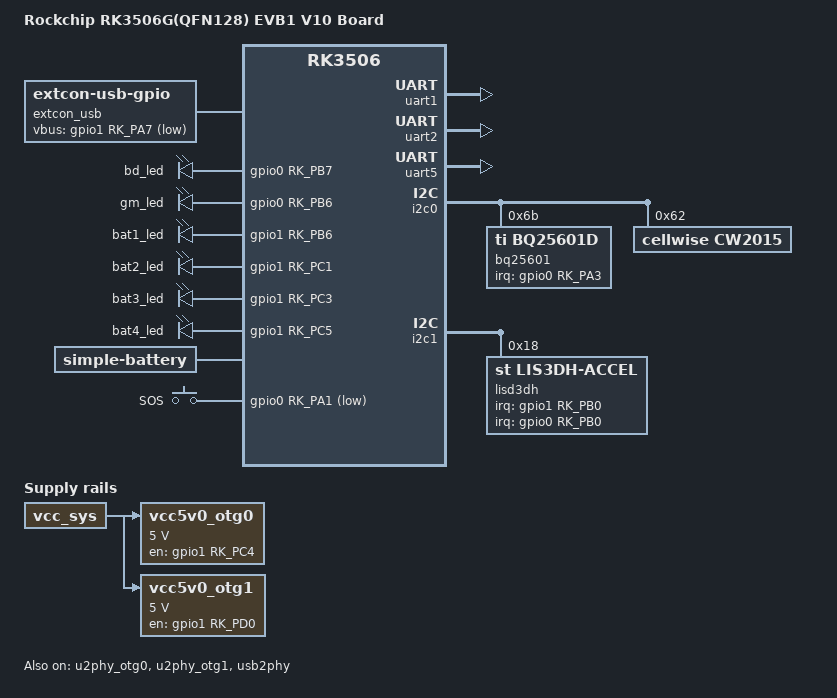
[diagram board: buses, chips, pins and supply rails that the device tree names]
// SPDX-License-Identifier: (GPL-2.0+ OR MIT)
/*
 * Copyright (c) 2024 Rockchip Electronics Co., Ltd.
 */

/dts-v1/;

#include "rk3506.dtsi"
#include "rk3506-evb1-v10.dtsi"
#include <dt-bindings/sensor-dev.h>

/ {
	model = "Rockchip RK3506G(QFN128) EVB1 V10 Board";
	compatible = "rockchip,rk3506g-evb1-v10", "rockchip,rk3506";

	chosen {
		bootargs = "earlycon=uart8250,mmio32,0xff0a0000 console=ttyFIQ0 ubi.mtd=2 root=ubi0:rootfs rw rootfstype=ubifs rootwait snd_aloop.index=7 snd_aloop.use_raw_jiffies=1";
	};

	extcon_usb: extcon-usb {
		compatible = "linux,extcon-usb-gpio";
		vbus-gpio = <&gpio1 RK_PA7 GPIO_ACTIVE_LOW>;
		pinctrl-names = "default";
		pinctrl-0 = <&usb_extcon_vbus>;
		status = "okay";
	};

	sai_dais: sai-dais {
		status = "disabled";
		compatible = "rockchip,multi-dais";
		dais = <&sai1>, <&sai4>;
		capture,channel-mapping = <2 2>;
		playback,channel-mapping = <2 0>;
		mclk-fs-mapping = <256 1024>;
	};

	vcc3v3_lcd_n: vcc3v3-lcd0-n {
		status = "disabled";
		compatible = "regulator-fixed";
		enable-active-high;
		gpio = <&gpio0 RK_PA1 GPIO_ACTIVE_HIGH>;
		regulator-name = "vcc3v3_lcd_n";
		regulator-boot-on;
		regulator-state-mem {
			regulator-off-in-suspend;
		};
	};

	vcc5v0_otg0: vcc5v0-otg0-regulator {
		compatible = "regulator-fixed";
		regulator-name = "vcc5v0_otg0";
		regulator-min-microvolt = <5000000>;
		regulator-max-microvolt = <5000000>;
		enable-active-high;
		gpio = <&gpio1 RK_PC4 GPIO_ACTIVE_HIGH>;
		vin-supply = <&vcc_sys>;
		pinctrl-names = "default";
		pinctrl-0 = <&vcc5v0_otg0_en>;
	};

	vcc5v0_otg1: vcc5v0-otg1-regulator {
		compatible = "regulator-fixed";
		regulator-name = "vcc5v0_otg1";
		regulator-boot-on;
		regulator-always-on;
		regulator-min-microvolt = <5000000>;
		regulator-max-microvolt = <5000000>;
		enable-active-high;
		gpio = <&gpio1 RK_PD0 GPIO_ACTIVE_HIGH>;
		vin-supply = <&vcc_sys>;
		pinctrl-names = "default";
		pinctrl-0 = <&vcc5v0_otg1_en>;
	};

	leds: leds {
		compatible = "gpio-leds";
		status = "okay";

		bd_led: bd_led {
			label = "bd_led";
			linux,default-trigger = "none";
			default-state = "off";
			gpios = <&gpio0 RK_PB7 GPIO_ACTIVE_HIGH>;
		};

		gm_led: gm_led {
			label = "gm_led";
			linux,default-trigger = "none";
			default-state = "off";
			gpios = <&gpio0 RK_PB6 GPIO_ACTIVE_HIGH>;
		};

		bat1_led: bat1_led {
			label = "bat1_led";
			linux,default-trigger = "none";
			default-state = "on";
			gpios = <&gpio1 RK_PB6 GPIO_ACTIVE_HIGH>;
		};

		bat2_led: bat2_led {
			label = "bat2_led";
			linux,default-trigger = "none";
			default-state = "off";
			gpios = <&gpio1 RK_PC1 GPIO_ACTIVE_HIGH>;
		};

		bat3_led: bat3_led {
			label = "bat3_led";
			linux,default-trigger = "none";
			default-state = "off";
			gpios = <&gpio1 RK_PC3 GPIO_ACTIVE_HIGH>;
		};

		bat4_led: bat4_led {
			label = "bat4_led";
			linux,default-trigger = "none";
			default-state = "off";
			gpios = <&gpio1 RK_PC5 GPIO_ACTIVE_HIGH>;
		};
	};

	wireless-bluetooth {
		status = "disabled";
	};

	wireless-wlan {
		status = "disabled";
	};

	bat: battery {
		compatible = "simple-battery";
		constant-charge-current-max-microamp = <2040000>;
		constant-charge-voltage-max-microvolt = <4352000>;
		precharge-current-microamp = <180000>;
		charge-term-current-microamp = <180000>;
	};
};

&acodec_sound {
	status = "disabled";
};

&cma {
	size = <0x1600000>;
};

&dsi {
	status = "disabled";
};

&dsi_dphy {
	status = "disabled";
};

&dsi_in_vop {
	status = "disabled";
};

&dsi_panel {
	power-supply = <&vcc3v3_lcd_n>;
	status = "disabled";
};

&es8388 {
	status = "disabled";
};

&es8388_sound {
	status = "disabled";
	rockchip,cpu = <&sai_dais>;
	rockchip,codec = <&es8388>, <&audio_codec>;
	rockchip,mclk-fs-mapping = <256 1024>;
};

&gt1x {
	power-supply = <&vcc3v3_lcd_n>;
	status = "disabled";
};

&pinctrl {
	usb {
		usb_extcon_vbus: usb-extcon-vbus {
			rockchip,pins = <1 RK_PA7 RK_FUNC_GPIO &pcfg_pull_none>;
		};

		vcc5v0_otg0_en: vcc5v0-otg0-en {
			rockchip,pins = <1 RK_PC4 RK_FUNC_GPIO &pcfg_pull_none>;
		};

		vcc5v0_otg1_en: vcc5v0-otg1-en {
			rockchip,pins = <1 RK_PD0 RK_FUNC_GPIO &pcfg_pull_none>;
		};
	};

	bq25601 {
		bq25601_int: bq25601-int {
			rockchip,pins = <0 RK_PA3 RK_FUNC_GPIO &pcfg_pull_up>;
		};
	};

	lis3dh {
		lis3dh_int1: lis3dh-int1 {
			rockchip,pins = <1 RK_PB0 RK_FUNC_GPIO &pcfg_pull_none>; /* GPIO1_B0, 无上下拉 */
		};
	};

	btn_keys {
		key_sos: key-sos {
			rockchip,pins = <0 RK_PA1 RK_FUNC_GPIO &pcfg_pull_none>;
		};
	};
};

&route_dsi {
	status = "disabled";
};

&sai1 {
	status = "disabled";
};

&uart3 {
	pinctrl-names = "default";
	pinctrl-0 = <&rm_io26_uart3_tx &rm_io25_uart3_rx &rm_io24_uart3_rtsn &rm_io29_uart3_ctsn>;
	linux,rs485-enabled-at-boot-time;	/* enable rs485 */
	status = "disabled";
};

&uart4 {
	dma-names = "!tx", "!rx";	/* remove ! to enable dma */
	pinctrl-names = "default";
	pinctrl-0 = <&rm_io27_uart4_tx &rm_io28_uart4_rx>;   /* vccio1 */
	status = "disabled";
};

&u2phy_otg0 {
	vbus-supply = <&vcc5v0_otg0>;
	rockchip,gpio-vbus-det;
	status = "okay";
};

&u2phy_otg1 {
	phy-supply = <&vcc5v0_otg1>;
	status = "okay";
};

&usb2phy {
	extcon = <&extcon_usb>;
	status = "okay";
};

/* added */

&uart1 {
	pinctrl-names = "default";
	pinctrl-0 = <&rm_io16_uart1_rx &rm_io17_uart1_tx>;
	status = "okay";
};

&uart2 {
	pinctrl-names = "default";
	pinctrl-0 = <&rm_io0_uart2_rx &rm_io2_uart2_tx>;
	status = "okay";
};

&uart5 {
	pinctrl-0 = <&uart5m0_xfer_pins>;
	status = "okay";
};

&adc_keys {
	status = "disabled";
};

&backlight {
	status = "disabled";
};

&fiq_debugger {
	rockchip,baudrate = <115200>;	/* Only 115200 and 1500000 */
};

/delete-node/ &wake_up;

&gpio_keys {
	status = "okay";
	pinctrl-0 = <&key_sos>;

	sos_key: sos-key {
		label = "SOS";
		gpios = <&gpio0 RK_PA1 GPIO_ACTIVE_LOW>;
		linux,code = <KEY_WAKEUP>;
		debounce-interval = <20>;
		wakeup-source;
	};
};

&mmc {
	status = "disabled";
};

&sdio_pwrseq {
	status = "disabled";
};

&audio_codec {
	status = "disabled";
};

&i2c0 {
	status = "okay";
	pinctrl-names = "default";
	pinctrl-0 = <&rm_io4_i2c0_scl &rm_io5_i2c0_sda>;

	bq25601: charger@6b {
		compatible = "ti,bq25601d";
		reg = <0x6b>;

		interrupt-parent = <&gpio0>;
		interrupts = <RK_PA3 IRQ_TYPE_EDGE_FALLING>;
		pinctrl-names = "default";
		pinctrl-0 = <&bq25601_int>;

		monitored-battery = <&bat>;

		ti,watchdog-timeout-ms = <0>;
		input-voltage-limit-microvolt = <4500000>;
		input-current-limit-microamp = <2400000>;
	};

	/* CellWise CW2015 Battery Fuel Gauge */
	cw2015: cw2015@62 {
		compatible = "cellwise,cw2015";
		reg = <0x62>;
		cellwise,battery-profile = /bits/ 8 <
				0x17 0x67 0x80 0x73 0x6E 0x6C 0x6B 0x63
				0x77 0x51 0x5C 0x58 0x50 0x4C 0x48 0x36
				0x15 0x0C 0x0C 0x19 0x5B 0x7D 0x6F 0x69
				0x69 0x5B 0x0C 0x29 0x20 0x40 0x52 0x59
				0x57 0x56 0x54 0x4F 0x3B 0x1F 0x7F 0x17
				0x06 0x1A 0x30 0x5A 0x85 0x93 0x96 0x2D
				0x48 0x77 0x9C 0xB3 0x80 0x52 0x94 0xCB
				0x2F 0x00 0x64 0xA5 0xB5 0x11 0xF0 0x11
		>;
		cellwise,monitor-interval-ms = <5000>; /* 监控间隔 */
	};
};

&i2c1 {
	pinctrl-names = "default";
	pinctrl-0 = <&rm_io25_i2c1_scl &rm_io26_i2c1_sda>;
	status = "okay";

	lisd3dh@18 {
		status = "okay";
		compatible = "st,lis3dh-accel";
		st,drdy-int-pin = <1>;
		reg = <0x18>;
		interrupt-parent = <&gpio0>;
		interrupts = <RK_PB0 IRQ_TYPE_EDGE_RISING>;
		pinctrl-names = "default";
		pinctrl-0 = <&lis3dh_int1>;
		irq-gpio = <&gpio1 RK_PB0 IRQ_TYPE_EDGE_RISING>;

		mount-matrix = "0",  "1",  "0",
						"-1", "0",  "0",
						"0",  "0",  "1";
	};
};

&i2c2 {
	status = "disabled";
};

&pwm0_4ch_0 {
	status = "disabled";
};

&pwm0_4ch_1 {
	status = "disabled";
};

&pwm0_4ch_2 {
	status = "disabled";
};

&rga2 {
	status = "disabled";
};

&rng {
	status = "disabled";
};

&rockchip_suspend {
	status = "disabled";
};

&sai4 {
	status = "disabled";
};

&display_subsystem {
	status = "disabled";
};

&gmac0 {
	status = "disabled";
};

&gmac1 {
	status = "disabled";
};

&vop {
	status = "disabled";
};
